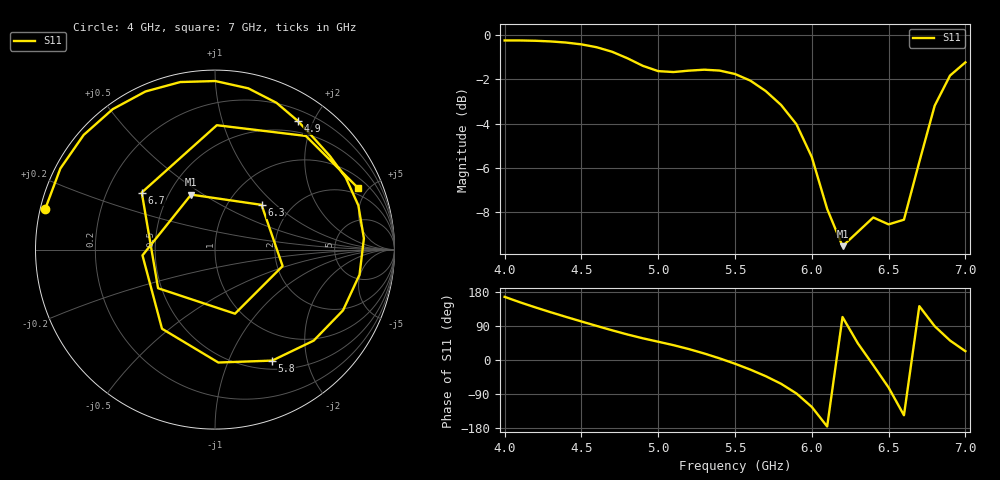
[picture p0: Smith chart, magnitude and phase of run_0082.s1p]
! Touchstone file exported from HFSS 2024.2.0
!  File:  C:/Users/wsak9/Desktop/Sim Fast/Widenad Patch/WP_AI_V1_sweep.aedt
!  Generated:  06:21:10 PM Oct 13, 2026
!  Design:  A1_model
!  Project:  WP_AI_V1_sweep
!  Setup:  Setup1
!  Solution:  Sweep
! Variables:
!  Air_gap = 1.58mm
!  Curve_Amp1 = 1.92
!  Curve_len1 = 1
!  Curve_pos = 9.755mm
!  Extra = 4.22mm
!  H_sub = 0.79mm
!  L_Patch = 15.51mm
!  L_Patch1 = 17.91mm
!  Sx = 2.7mm
!  Sy = 1.97mm
!  WS = 0.46mm
!  W_Patch = 14.2mm
!  W_Patch1 = 13.69mm
!Data is not renormalized
# GHz S MA
! Terminal data exported
! Port[1] = 1
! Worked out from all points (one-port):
!   31 points, 4 GHz to 7 GHz, reference per port
!   lowest |S11| = -9.5 dB at 6.2 GHz (marker M1), VSWR 2.00
!   |S11| at or under -10 dB: nowhere
!   S11 on the Smith chart (normalised r, x): 4 GHz: 0.01, +0.12; 4.9 GHz: 0.34, +1.78; 5.8 GHz: 0.61, -1.46; 6.3 GHz: 1.43, +0.82; 6.7 GHz: 0.35, +0.31; 7 GHz: 1.56, +4.33
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4  0.9729 166.7
4.1  0.9729 152.3
4.2  0.9713 138.9
4.3  0.968 126.1
4.4  0.9624 113.7
4.5  0.9534 101.7
4.6  0.9392 89.9
4.7  0.9174 78.3
4.8  0.8868 67.3
4.9  0.8527 57.3
5.2  0.8316 28.8
5.4  0.8319 4.3
5.5  0.8173 -9.8
5.6  0.7896 -25.4
5.7  0.748 -42.7
5.8  0.6957 -62.7
5.9  0.6294 -88.3
6  0.5306 -123.8
6.1  0.4054 -175.4
6.2  0.3339 113.5
6.3  0.3597 43.9
6.4  0.3877 -13.7
6.5  0.374 -72.7
6.6  0.3832 -145.8
6.7  0.5174 142.1
6.8  0.6931 89.2
6.9  0.8107 51.4
7  0.8682 23.2
